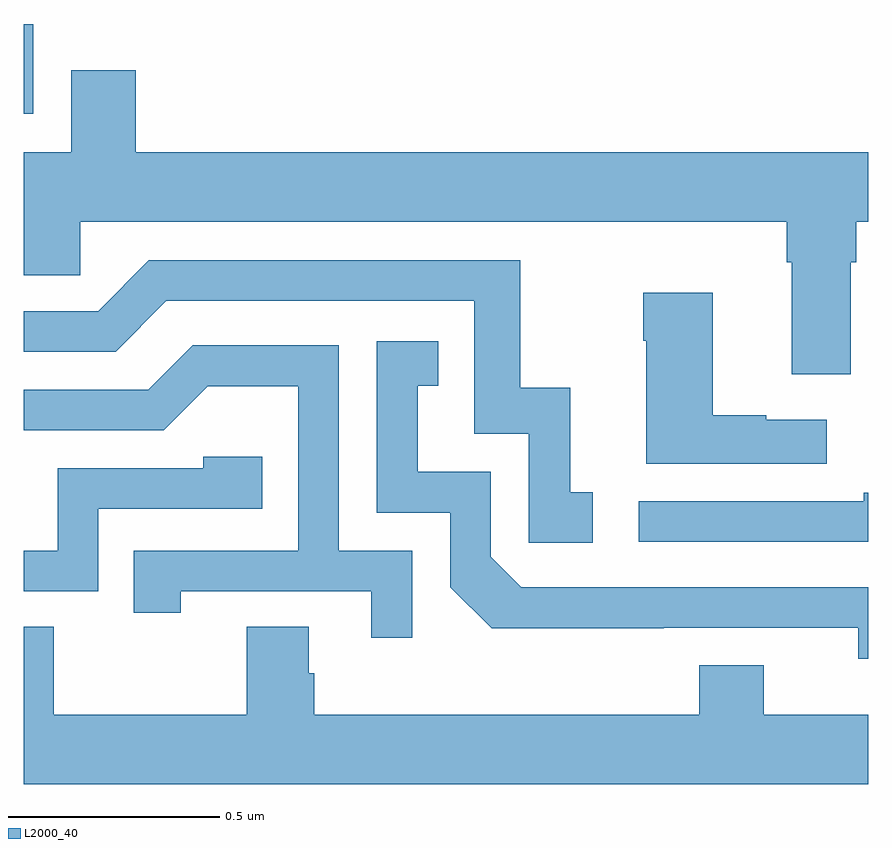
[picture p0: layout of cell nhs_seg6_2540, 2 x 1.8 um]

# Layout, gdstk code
import gdstk
lib = gdstk.Library(unit=1e-6, precision=1e-09)
def R(c, l, rs):  # rectangles x0, y0, x1, y1
    for r in rs: c.add(gdstk.rectangle(r[:2], r[2:], *l))
def P(c, l, *ps):  # polygons
    for p in ps: c.add(gdstk.Polygon(p, *l))
L2000_40 = (2000, 40)

nhs_seg6_2540 = lib.new_cell('nhs_seg6_2540')
R(nhs_seg6_2540, L2000_40, [(145,918.288,145.023,918.5)])
P(nhs_seg6_2540, L2000_40, [(146.959,917.936),(146.972,917.936),(146.972,918.032),(147,918.032),(147,918.196),(145.265,918.196),(145.265,918.391),(145.112,918.391),(145.112,918.196),(145,918.196),(145,917.905),(145.134,917.905),(145.134,918.032),(146.807,918.032),(146.807,917.936),(146.819,917.936),(146.819,917.67),(146.959,917.67)],
  [(146.347,917.391),(146.294,917.391),(146.294,917.638),(146.176,917.638),(146.176,917.94),(145.296,917.94),(145.176,917.82),(145,917.82),(145,917.724),(145.218,917.724),(145.338,917.844),(146.067,917.844),(146.067,917.529),(146.196,917.529),(146.196,917.271),(146.347,917.271)],
  [(146.902,917.563),(146.759,917.563),(146.759,917.573),(146.632,917.573),(146.632,917.863),(146.467,917.863),(146.467,917.75),(146.474,917.75),(146.474,917.459),(146.902,917.459)],
  [(147,917.166),(146.178,917.166),(146.106,917.238),(146.106,917.439),(145.933,917.439),(145.933,917.643),(145.982,917.643),(145.982,917.749),(145.836,917.749),(145.836,917.343),(146.01,917.343),(146.01,917.166),(146.108,917.069),(146.516,917.069),(146.516,917.07),(146.976,917.07),(146.976,916.997),(147,916.997)],
  [(145.92,917.253),(145.746,917.253),(145.746,917.739),(145.4,917.739),(145.295,917.634),(145,917.634),(145,917.538),(145.332,917.538),(145.436,917.642),(145.65,917.642),(145.65,917.253),(145.261,917.253),(145.261,917.106),(145.372,917.106),(145.372,917.157),(145.823,917.157),(145.823,917.046),(145.92,917.046)],
  [(145.176,917.352),(145.565,917.352),(145.565,917.475),(145.425,917.475),(145.425,917.448),(145.08,917.448),(145.08,917.253),(145,917.253),(145,917.157),(145.176,917.157)],
  [(147,917.39),(146.989,917.39),(146.989,917.37),(146.457,917.37),(146.457,917.274),(147,917.274)],
  [(147,916.864),(146.752,916.864),(146.752,916.981),(146.6,916.981),(146.6,916.864),(145.688,916.864),(145.688,916.962),(145.675,916.962),(145.675,917.072),(145.528,917.072),(145.528,916.864),(145.071,916.864),(145.071,917.072),(145,917.072),(145,916.7),(147,916.7)])

lib.write_gds('nhs_seg6_2540.gds')
